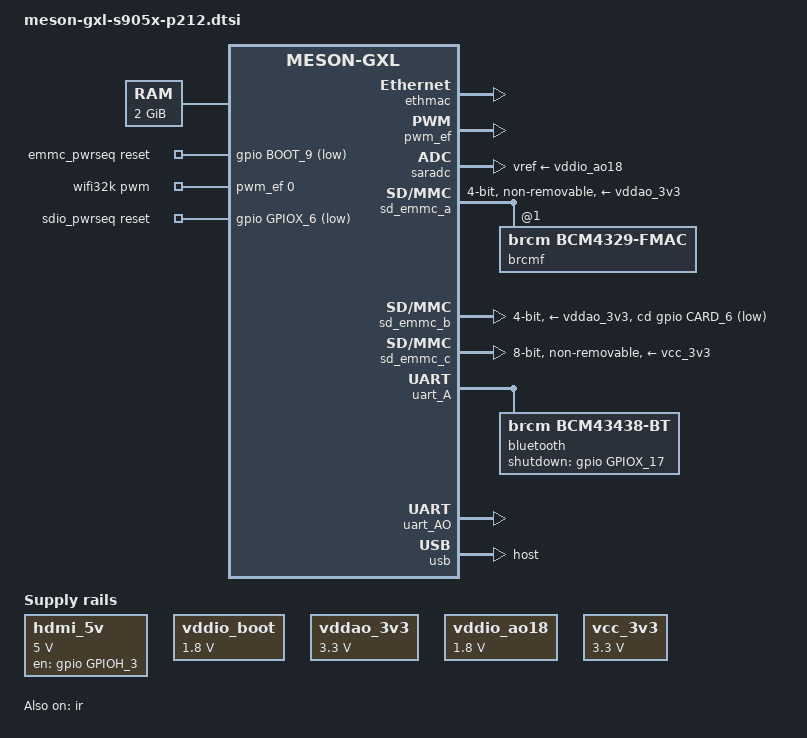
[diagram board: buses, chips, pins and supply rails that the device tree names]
// SPDX-License-Identifier: (GPL-2.0+ OR MIT)
/*
 * Copyright (c) 2016 Martin Blumenstingl <martin.blumenstingl@googlemail.com>.
 * Based on meson-gx-p23x-q20x.dtsi:
 * - Copyright (c) 2016 Endless Computers, Inc.
 *   Author: Carlo Caione <carlo@endlessm.com>
 * - Copyright (c) 2016 BayLibre, SAS.
 *   Author: Neil Armstrong <narmstrong@baylibre.com>
 */

/* Common DTSI for devices which are based on the P212 reference board. */

#include "meson-gxl-s905x.dtsi"

/ {
	aliases {
		serial0 = &uart_AO;
		ethernet0 = &ethmac;
	};

	chosen {
		stdout-path = "serial0:115200n8";
	};

	memory@0 {
		device_type = "memory";
		reg = <0x0 0x0 0x0 0x80000000>;
	};

	hdmi_5v: regulator-hdmi-5v {
		compatible = "regulator-fixed";

		regulator-name = "HDMI_5V";
		regulator-min-microvolt = <5000000>;
		regulator-max-microvolt = <5000000>;

		gpio = <&gpio GPIOH_3 GPIO_ACTIVE_HIGH>;
		enable-active-high;
		regulator-always-on;
	};

	vddio_boot: regulator-vddio-boot {
		compatible = "regulator-fixed";
		regulator-name = "VDDIO_BOOT";
		regulator-min-microvolt = <1800000>;
		regulator-max-microvolt = <1800000>;
	};

	vddao_3v3: regulator-vddao-3v3 {
		compatible = "regulator-fixed";
		regulator-name = "VDDAO_3V3";
		regulator-min-microvolt = <3300000>;
		regulator-max-microvolt = <3300000>;
	};

	vddio_ao18: regulator-vddio-ao18 {
		compatible = "regulator-fixed";
		regulator-name = "VDDIO_AO18";
		regulator-min-microvolt = <1800000>;
		regulator-max-microvolt = <1800000>;
	};

	vcc_3v3: regulator-vcc-3v3 {
		compatible = "regulator-fixed";
		regulator-name = "VCC_3V3";
		regulator-min-microvolt = <3300000>;
		regulator-max-microvolt = <3300000>;
	};

	emmc_pwrseq: emmc-pwrseq {
		compatible = "mmc-pwrseq-emmc";
		reset-gpios = <&gpio BOOT_9 GPIO_ACTIVE_LOW>;
	};

	wifi32k: wifi32k {
		compatible = "pwm-clock";
		#clock-cells = <0>;
		clock-frequency = <32768>;
		pwms = <&pwm_ef 0 30518 0>; /* PWM_E at 32.768KHz */
	};

	sdio_pwrseq: sdio-pwrseq {
		compatible = "mmc-pwrseq-simple";
		reset-gpios = <&gpio GPIOX_6 GPIO_ACTIVE_LOW>;
		clocks = <&wifi32k>;
		clock-names = "ext_clock";
	};
};

&ethmac {
	status = "okay";
};

&ir {
	status = "okay";
	pinctrl-0 = <&remote_input_ao_pins>;
	pinctrl-names = "default";
};

&pwm_ef {
	status = "okay";
	pinctrl-0 = <&pwm_e_pins>;
	pinctrl-names = "default";
	clocks = <&clkc CLKID_FCLK_DIV4>;
	clock-names = "clkin0";
};

&saradc {
	status = "okay";
	vref-supply = <&vddio_ao18>;
};

/* Wireless SDIO Module */
&sd_emmc_a {
	status = "okay";
	pinctrl-0 = <&sdio_pins>;
	pinctrl-1 = <&sdio_clk_gate_pins>;
	pinctrl-names = "default", "clk-gate";
	#address-cells = <1>;
	#size-cells = <0>;

	bus-width = <4>;
	cap-sd-highspeed;
	max-frequency = <50000000>;

	non-removable;
	disable-wp;

	/* WiFi firmware requires power to be kept while in suspend */
	keep-power-in-suspend;

	mmc-pwrseq = <&sdio_pwrseq>;

	vmmc-supply = <&vddao_3v3>;
	vqmmc-supply = <&vddio_boot>;

	brcmf: wifi@1 {
		reg = <1>;
		compatible = "brcm,bcm4329-fmac";
	};
};

/* SD card */
&sd_emmc_b {
	status = "okay";
	pinctrl-0 = <&sdcard_pins>;
	pinctrl-1 = <&sdcard_clk_gate_pins>;
	pinctrl-names = "default", "clk-gate";

	bus-width = <4>;
	cap-sd-highspeed;
	max-frequency = <50000000>;
	disable-wp;

	cd-gpios = <&gpio CARD_6 GPIO_ACTIVE_LOW>;

	vmmc-supply = <&vddao_3v3>;
	vqmmc-supply = <&vddio_boot>;
};

/* eMMC */
&sd_emmc_c {
	status = "okay";
	pinctrl-0 = <&emmc_pins>, <&emmc_ds_pins>;
	pinctrl-1 = <&emmc_clk_gate_pins>;
	pinctrl-names = "default", "clk-gate";

	bus-width = <8>;
	cap-mmc-highspeed;
	max-frequency = <200000000>;
	non-removable;
	disable-wp;
	mmc-ddr-1_8v;
	mmc-hs200-1_8v;

	mmc-pwrseq = <&emmc_pwrseq>;
	vmmc-supply = <&vcc_3v3>;
	vqmmc-supply = <&vddio_boot>;
};

/* This is connected to the Bluetooth module: */
&uart_A {
	status = "okay";
	pinctrl-0 = <&uart_a_pins>, <&uart_a_cts_rts_pins>;
	pinctrl-names = "default";
	uart-has-rtscts;

	bluetooth {
		compatible = "brcm,bcm43438-bt";
		shutdown-gpios = <&gpio GPIOX_17 GPIO_ACTIVE_HIGH>;
		max-speed = <2000000>;
		clocks = <&wifi32k>;
		clock-names = "lpo";
	};
};

&uart_AO {
	status = "okay";
	pinctrl-0 = <&uart_ao_a_pins>;
	pinctrl-names = "default";
};

&usb {
	status = "okay";
	dr_mode = "host";
};

&usb2_phy0 {
	/*
	 * HDMI_5V is also used as supply for the USB VBUS.
	 */
	phy-supply = <&hdmi_5v>;
};
